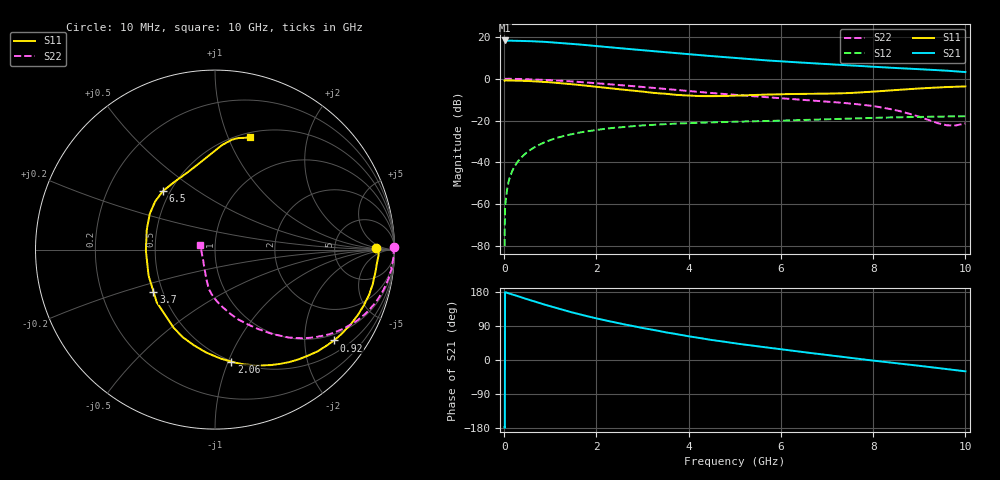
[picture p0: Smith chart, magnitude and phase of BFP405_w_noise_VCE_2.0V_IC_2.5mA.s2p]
! Infineon Technologies  Discrete & RF Semiconductors
! BFP405
! VCE =  2.0 V,  IC =  2.5 mA
! Common Emitter S-Parameters:  Jan 2016
# GHz  S  MA  R  50
!  f  S11  S21  S12  S22
! GHz  MAG  ANG  MAG  ANG  MAG  ANG  MAG  ANG
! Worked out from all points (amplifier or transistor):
!   233 points, 10 MHz to 10 GHz, reference 50 ohm
!   highest |S21| = 18.3 dB at 10 MHz (marker M1)
!   |S21| within 3 dB of that: start of sweep to 2.16 GHz
!   unconditionally stable (mu >= 1): 4.096 GHz to end of sweep
!   at 200 MHz: K = 0.04, MSG = 30.6 dB, |S12| = -43.0 dB
!   at 1.74 GHz: K = 0.37, MSG = 20.7 dB, |S12| = -25.3 dB
!   at 10 GHz: K = 1.63, MAG = 5.9 dB, |S12| = -17.9 dB
!   lowest NFmin = 0.94 dB at 900 MHz
!   S11 on the Smith chart (normalised r, x): 10 MHz: 18, +2; 920 MHz: 0.82, -2.73; 2.06 GHz: 0.50, -1.03; 3.7 GHz: 0.45, -0.25; 6.5 GHz: 0.46, +0.37; 10 GHz: 0.55, +1.21
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0.01  0.8982 0.6  8.206 -177.3  0.0001 -139.8  0.9995 0.8
0.015  0.905 -0.0  8.147 -179.2  0.0004 101.2  0.9957 0.5
0.02  0.9118 -0.6  8.097 178.8  0.0008 94.9  0.992 0.1
0.03  0.9116 -1.1  8.087 178.6  0.0011 89.1  0.9931 -0.2
0.07  0.9093 -2.9  8.086 177.2  0.0025 87.0  0.9956 -1.2
0.16  0.904 -6.4  8.094 173.8  0.0057 87.0  0.9932 -3.4
0.5  0.8862 -20.4  7.964 160.5  0.0177 79.8  0.9764 -10.6
0.92  0.8337 -37.4  7.547 144.7  0.0316 70.6  0.936 -19.2
1.3  0.77 -52.4  7.042 131.4  0.0431 63.0  0.8864 -26.4
1.68  0.6998 -67.1  6.495 119.2  0.0529 55.8  0.8298 -32.7
2.06  0.6306 -81.7  5.945 108.2  0.0612 49.5  0.7724 -38.3
2.62  0.5432 -103.1  5.227 93.6  0.0711 41.4  0.6903 -45.6
3  0.4928 -117.9  4.811 84.5  0.0767 36.5  0.637 -50.2
3.4  0.4441 -133.5  4.402 75.6  0.0814 31.8  0.5817 -54.6
3.7  0.415 -145.7  4.121 69.1  0.0844 28.6  0.5435 -57.8
4.5  0.3852 -179.3  3.471 52.8  0.0909 21.2  0.4552 -66.3
5.1  0.3981 161.2  3.061 42.4  0.0944 16.7  0.4042 -72.2
6.5  0.4366 131.7  2.416 20.6  0.1036 9.1  0.3135 -84.1
6.8  0.4368 125.1  2.303 16.2  0.106 7.4  0.2958 -86.6
8.4  0.5293 93.1  1.826 -7.1  0.119 -2.9  0.1859 -103.8
9.6  0.6334 78.5  1.555 -24.2  0.1254 -10.4  0.0771 -157.9
10  0.655 72.5  1.443 -29.9  0.1272 -12.5  0.0858 163.7
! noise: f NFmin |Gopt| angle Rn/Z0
0.9  0.94  0.53  14  0.37
1.8  1.25  0.42  26  0.35
2.4  1.45  0.36  35  0.34
3  1.48  0.34  51  0.32
4  1.69  0.22  76  0.25
5  2.05  0.17  117  0.21
